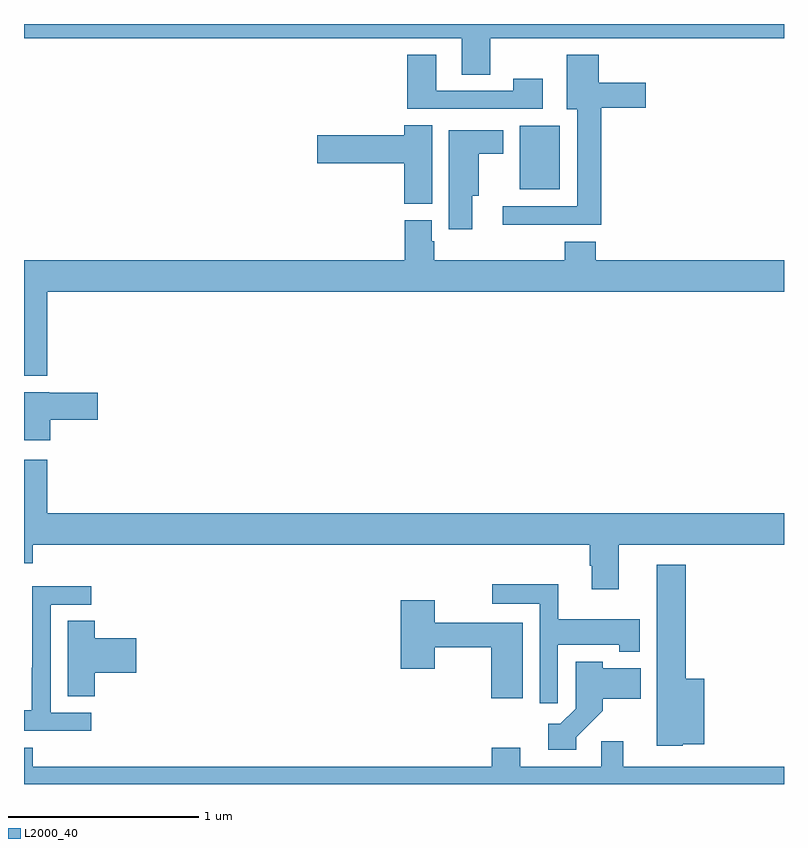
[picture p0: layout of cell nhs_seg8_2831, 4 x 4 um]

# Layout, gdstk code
import gdstk
lib = gdstk.Library(unit=1e-6, precision=1e-09)
def R(c, l, rs):  # rectangles x0, y0, x1, y1
    for r in rs: c.add(gdstk.rectangle(r[:2], r[2:], *l))
def P(c, l, *ps):  # polygons
    for p in ps: c.add(gdstk.Polygon(p, *l))
L2000_40 = (2000, 40)

nhs_seg8_2831 = lib.new_cell('nhs_seg8_2831')
R(nhs_seg8_2831, L2000_40, [(291.608,1125.029,291.82,1125.364)])
P(nhs_seg8_2831, L2000_40, [(291.453,1125.824),(293,1125.824),(293,1125.9),(289,1125.9),(289,1125.824),(291.305,1125.824),(291.305,1125.634),(291.453,1125.634)],
  [(292.037,1125.458),(292.273,1125.458),(292.273,1125.592),(292.024,1125.592),(292.024,1125.739),(291.857,1125.739),(291.857,1125.452),(291.911,1125.452),(291.911,1124.94),(291.519,1124.94),(291.519,1124.843),(292.037,1124.843)],
  [(291.73,1125.613),(291.574,1125.613),(291.574,1125.549),(291.169,1125.549),(291.169,1125.739),(291.017,1125.739),(291.017,1125.453),(291.73,1125.453)],
  [(291.148,1125.368),(291.002,1125.368),(291.002,1125.314),(290.544,1125.314),(290.544,1125.167),(291.002,1125.167),(291.002,1124.953),(291.148,1124.953)],
  [(291.358,1124.996),(291.394,1124.996),(291.394,1125.218),(291.523,1125.218),(291.523,1125.34),(291.236,1125.34),(291.236,1124.82),(291.358,1124.82)],
  [(289.123,1124.492),(293,1124.492),(293,1124.656),(292.01,1124.656),(292.01,1124.755),(291.845,1124.755),(291.845,1124.656),(291.158,1124.656),(291.158,1124.757),(291.145,1124.757),(291.145,1124.868),(291.005,1124.868),(291.005,1124.656),(289,1124.656),(289,1124.492),(289.001,1124.492),(289.001,1124.048),(289.123,1124.048)],
  [(289.138,1123.816),(289.387,1123.816),(289.387,1123.958),(289.134,1123.958),(289.134,1123.963),(289,1123.963),(289,1123.709),(289.138,1123.709)],
  [(292.129,1123.16),(293,1123.16),(293,1123.324),(289.123,1123.324),(289.123,1123.606),(289.001,1123.606),(289.001,1123.324),(289,1123.324),(289,1123.061),(289.046,1123.061),(289.046,1123.16),(291.977,1123.16),(291.977,1123.05),(291.989,1123.05),(291.989,1122.924),(292.129,1122.924)],
  [(292.467,1122.11),(292.579,1122.11),(292.579,1122.454),(292.484,1122.454),(292.484,1123.054),(292.331,1123.054),(292.331,1122.101),(292.467,1122.101)],
  [(291.81,1122.632),(292.134,1122.632),(292.134,1122.596),(292.242,1122.596),(292.242,1122.766),(291.811,1122.766),(291.811,1122.952),(291.465,1122.952),(291.465,1122.848),(291.714,1122.848),(291.714,1122.324),(291.81,1122.324)],
  [(289.354,1122.276),(289.14,1122.276),(289.14,1122.843),(289.354,1122.843),(289.354,1122.942),(289.044,1122.942),(289.044,1122.512),(289.042,1122.512),(289.042,1122.289),(289,1122.289),(289,1122.18),(289.354,1122.18)],
  [(291.625,1122.748),(291.162,1122.748),(291.162,1122.868),(290.984,1122.868),(290.984,1122.507),(291.162,1122.507),(291.162,1122.619),(291.458,1122.619),(291.458,1122.351),(291.625,1122.351)],
  [(289.373,1122.485),(289.591,1122.485),(289.591,1122.668),(289.373,1122.668),(289.373,1122.758),(289.229,1122.758),(289.229,1122.361),(289.373,1122.361)],
  [(291.906,1122.147),(292.045,1122.286),(292.045,1122.35),(292.246,1122.35),(292.246,1122.508),(292.045,1122.508),(292.045,1122.544),(291.903,1122.544),(291.903,1122.297),(291.823,1122.217),(291.759,1122.217),(291.759,1122.081),(291.906,1122.081)],
  [(293,1121.992),(292.153,1121.992),(292.153,1122.124),(292.038,1122.124),(292.038,1121.992),(291.613,1121.992),(291.613,1122.091),(291.461,1122.091),(291.461,1121.992),(289.046,1121.992),(289.046,1122.091),(289,1122.091),(289,1121.9),(293,1121.9)])

lib.write_gds('nhs_seg8_2831.gds')
